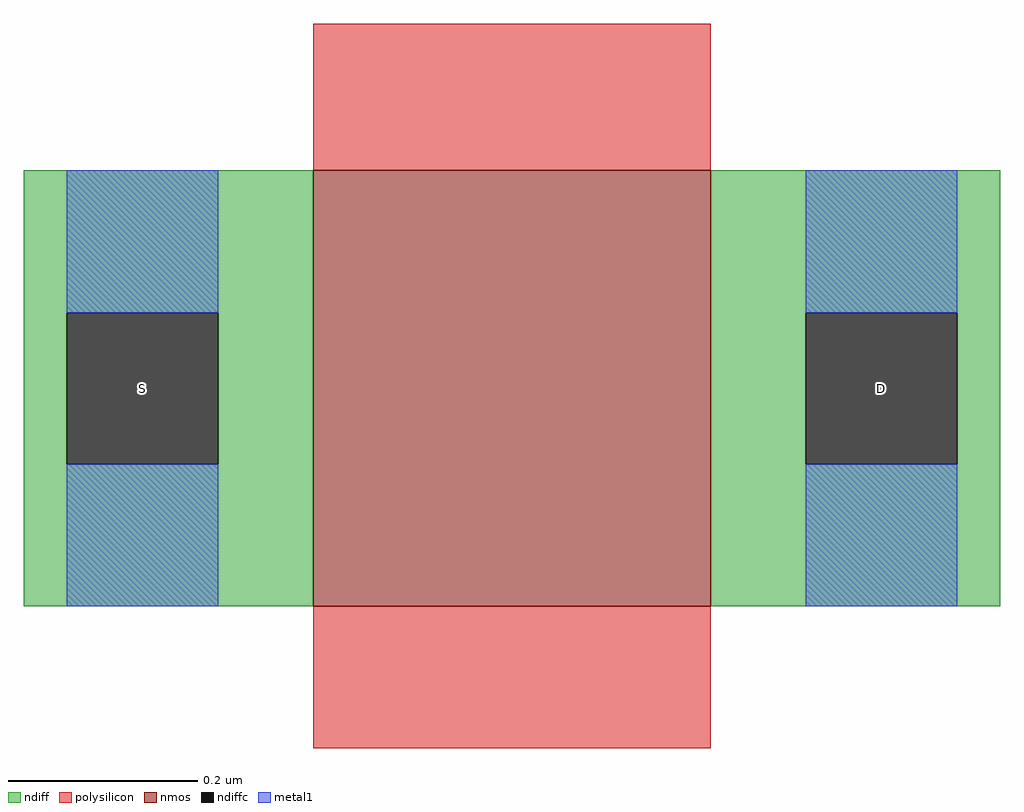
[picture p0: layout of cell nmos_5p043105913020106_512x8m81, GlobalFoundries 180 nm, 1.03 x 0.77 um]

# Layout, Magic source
magic
tech gf180mcuD
magscale 1 10
<< nmos >>
rect 0 0 84 92
<< ndiff >>
rect -61 62 0 92
rect -61 30 -52 62
rect -20 30 0 62
rect -61 0 0 30
rect 84 62 145 92
rect 84 30 104 62
rect 136 30 145 62
rect 84 0 145 30
<< ndiffc >>
rect -52 30 -20 62
rect 104 30 136 62
<< polysilicon >>
rect 0 92 84 123
rect 0 -30 84 0
<< metal1 >>
rect -52 62 -20 92
rect -52 0 -20 30
rect 104 62 136 92
rect 104 0 136 30
<< labels >>
flabel ndiffc -36 46 -36 46 0 FreeSans 140 0 0 0 S
flabel ndiffc 120 46 120 46 0 FreeSans 140 0 0 0 D
<< end >>
